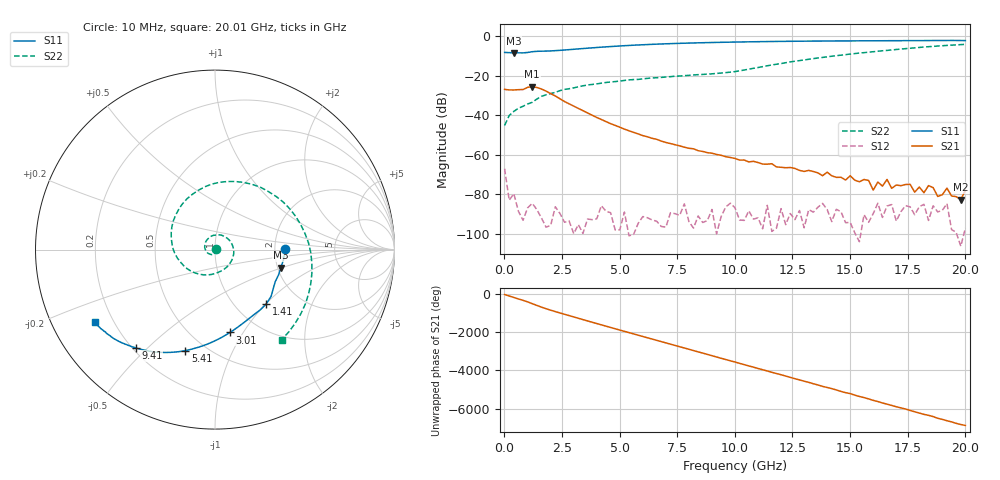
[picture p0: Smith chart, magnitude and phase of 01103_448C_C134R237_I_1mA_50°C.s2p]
!;Filter: kein Filter
!auto
!3/21/2019 9:26:39 AM
!3/21/2019 9:26:51 AM
!SP-Measurements Prober G4
!SP-Measurements Prober G4
!01103_448C
!134
!237
!12
!50
!-20
!0.00099996
!1.65
!0.05816927
!0.05816927
# Hz S  RI  R 50
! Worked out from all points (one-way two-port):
!   101 points, 10 MHz to 20.01 GHz, reference 50 ohm
!   highest |S21| = -25.55 dB at 1.21 GHz (marker M1); lowest = -82.7 dB at 19.81 GHz (marker M2)
!   lowest |S11| = -8.4 dB at 410 MHz (marker M3), VSWR 2.23, Z = 104 - j24.4 ohm
!   |S11| at or under -10 dB: nowhere
!   |S22| runs from -45.2 to -4.1 dB; largest |S21 - S12| = 0.053
!   S11 on the Smith chart (normalised r, x): 10 MHz: 2.28, +0.03; 1.41 GHz: 1.37, -1.01; 3.01 GHz: 0.74, -0.88; 5.41 GHz: 0.39, -0.67; 9.41 GHz: 0.21, -0.46; 20.01 GHz: 0.13, -0.27
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1e7  0.3904 0.00479  0.0412 -0.0186  -0.000256 0.000362  0.00537 0.00126
2.1e8  0.3814 -0.058  -0.00796 -0.0431  -6.67e-05 -2.3e-05  0.00878 -0.00448
4.1e8  0.3665 -0.1006  -0.0437 -0.002  8.56e-06 0.000103  0.0102 -0.00721
1.21e9  0.3125 -0.2606  -0.0419 -0.032  4.22e-05 -4.08e-05  -0.00171 -0.0212
1.41e9  0.2852 -0.3031  -0.0292 0.0413  3.48e-05 -2.14e-05  -0.00749 -0.0246
3.01e9  0.0833 -0.4616  -0.00779 -0.0152  -6.07e-06 8.02e-06  -0.0486 -0.00877
3.41e9  0.039 -0.488  -0.00278 0.0128  -1.18e-06 1.01e-05  -0.0555 0.00485
5.41e9  -0.165 -0.5626  -0.00314 0.00255  8.55e-06 2.29e-06  -0.0173 0.0767
6.81e9  -0.2828 -0.5731  0.00191 0.00112  1.52e-05 -1.86e-06  0.0587 0.0694
9.41e9  -0.4424 -0.5474  -0.000527 -0.00081  -1.39e-05 2.34e-05  0.0662 -0.0969
1.001e10  -0.4702 -0.5383  0.000613 0.000526  -4.12e-05 -1.91e-05  0.0187 -0.1263
1.341e10  -0.5807 -0.4836  0.000357 -0.000118  -3.08e-05 1.7e-05  -0.2403 0.1272
1.581e10  -0.6243 -0.449  -7.72e-06 -0.000223  -5.29e-08 -1.95e-05  0.1128 0.3795
1.601e10  -0.6267 -0.4472  -0.000124 -2.88e-05  2.75e-05 -1.71e-05  0.158 0.3745
1.661e10  -0.6346 -0.4414  0.000236 -2.57e-05  4.97e-05 -8.48e-06  0.2964 0.3241
1.681e10  -0.6379 -0.4385  4.05e-05 -0.000135  1.29e-05 -5.32e-05  0.3398 0.2966
1.761e10  -0.6476 -0.4287  0.000164 6.96e-05  -4.48e-05 -1.73e-05  0.4785 0.1374
1.821e10  -0.6555 -0.4213  -0.000109 3.75e-06  4.38e-05 3.4e-05  0.5337 -0.0174
1.841e10  -0.6582 -0.4195  -0.000101 0.000131  1.91e-05 -1.04e-05  0.5397 -0.0747
1.881e10  -0.6634 -0.4144  7.8e-05 -4.03e-05  -3.54e-05 4.3e-06  0.5339 -0.1882
1.981e10  -0.6698 -0.4025  7.3e-05 7.82e-06  -2.5e-06 4.14e-06  0.4129 -0.4565
2.001e10  -0.6684 -0.4018  9.22e-05 -8.46e-05  1.31e-05 4.7e-06  0.371 -0.5029
